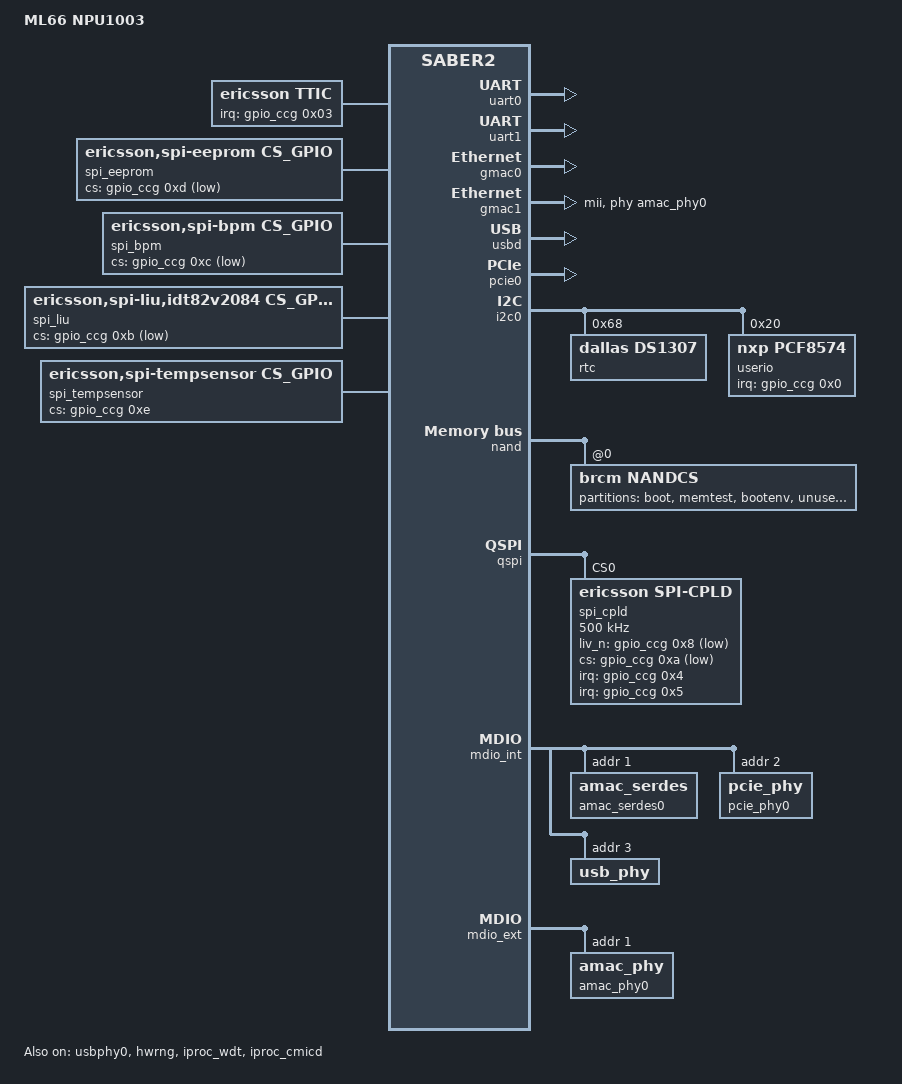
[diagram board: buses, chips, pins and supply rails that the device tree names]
/*
 *  BSD LICENSE
 *
 *  Copyright(c) 2016 Broadcom Corporation.  All rights reserved.
 *
 *  Redistribution and use in source and binary forms, with or without
 *  modification, are permitted provided that the following conditions
 *  are met:
 *
 *    * Redistributions of source code must retain the above copyright
 *      notice, this list of conditions and the following disclaimer.
 *    * Redistributions in binary form must reproduce the above copyright
 *      notice, this list of conditions and the following disclaimer in
 *      the documentation and/or other materials provided with the
 *      distribution.
 *    * Neither the name of Broadcom Corporation nor the names of its
 *      contributors may be used to endorse or promote products derived
 *      from this software without specific prior written permission.
 *
 *  THIS SOFTWARE IS PROVIDED BY THE COPYRIGHT HOLDERS AND CONTRIBUTORS
 *  "AS IS" AND ANY EXPRESS OR IMPLIED WARRANTIES, INCLUDING, BUT NOT
 *  LIMITED TO, THE IMPLIED WARRANTIES OF MERCHANTABILITY AND FITNESS FOR
 *  A PARTICULAR PURPOSE ARE DISCLAIMED. IN NO EVENT SHALL THE COPYRIGHT
 *  OWNER OR CONTRIBUTORS BE LIABLE FOR ANY DIRECT, INDIRECT, INCIDENTAL,
 *  SPECIAL, EXEMPLARY, OR CONSEQUENTIAL DAMAGES (INCLUDING, BUT NOT
 *  LIMITED TO, PROCUREMENT OF SUBSTITUTE GOODS OR SERVICES; LOSS OF USE,
 *  DATA, OR PROFITS; OR BUSINESS INTERRUPTION) HOWEVER CAUSED AND ON ANY
 *  THEORY OF LIABILITY, WHETHER IN CONTRACT, STRICT LIABILITY, OR TORT
 *  (INCLUDING NEGLIGENCE OR OTHERWISE) ARISING IN ANY WAY OUT OF THE USE
 *  OF THIS SOFTWARE, EVEN IF ADVISED OF THE POSSIBILITY OF SUCH DAMAGE.
 */

/dts-v1/;

#include "bcm-saber2.dtsi"

/ {
	model = "ML66 NPU1003";
	compatible = "ericsson,npu1003", "brcm,saber2";

	aliases {
		serial0 = &uart0;
		serial1 = &uart1;
		ethernet0 = &gmac0;
		ethernet1 = &gmac1;
	};

	chosen {
		bootargs = "console=ttyS0,115200n8 maxcpus=1 ubi.mtd=1 root=ubi0:rootfs rootflags=bulk_read rootfstype=ubifs user_debug=31";
	};

	ttic {
		compatible = "ericsson,ttic";
		interrupts = <0x03 IRQ_TYPE_EDGE_FALLING>;
		interrupt-parent =<&gpio_ccg>;
	};

	rmm {
		compatible = "ericsson,rmm";
	};

	pex {
		compatible = "ericsson,pcie";
	};

	gpio_pcie: gpio_pcie {
		compatible = "ericsson,gpio_pcie";
		#gpio-cells = <2>;
		gpio-controller;
	};

	spi_eeprom {
		compatible = "ericsson,spi-eeprom,cs_gpio";
		spi-cpol;
		cs = <&gpio_ccg 0xd GPIO_ACTIVE_LOW>;
	};

	spi_bpm {
		compatible = "ericsson,spi-bpm,cs_gpio";
		spi-cpol;
		cs = <&gpio_ccg 0xc GPIO_ACTIVE_LOW>;
	};

	spi_liu {
		compatible = "ericsson,spi-liu,idt82v2084,cs_gpio";
		spi-cpol;
		cs = <&gpio_ccg 0xb GPIO_ACTIVE_LOW>;
	};

	spi_tempsensor {
		compatible = "ericsson,spi-tempsensor,cs_gpio";
		spi-cpol;
		spi-cpha;
		cs = <&gpio_ccg 0xe GPIO_ACTIVE_HIGH>;
	};
};

&uart0 {
	status = "okay";
};

&uart1 {
	status = "okay";
};

&gmac0 {
	status = "okay";
	serdes-handle = <&amac_serdes0>;
};

&gmac1 {
	status = "okay";
	phy-handle = <&amac_phy0>;
	phy-mode = "mii";
};

&usbphy0 {
	status = "okay";
	mdio-phy-handle = <&usb_phy>;
};

&usbd {
	status = "okay";
};

&gpio_ccg {
	status = "okay";
};

&pcie0 {
	status = "okay";
	mdio-phy-handle = <&pcie_phy0>;
};

&i2c0 {
	status = "okay";
	rtc@0x68 {
		compatible = "dallas,ds1307";
		reg = <0x68>;
	};

	userio@20 {
		compatible = "nxp,pcf8574";
		reg = <0x20>;
		gpio-controller;
		dedicated-out-pins = <0x10>;
		#gpio-cells = <0x2>;
		interrupt-controller;
		#interrupt-cells = <2>;
		interrupt-parent = <&gpio_ccg>;
		interrupts = <0x0 IRQ_TYPE_EDGE_FALLING>;
	};
};

&nand {
	status = "okay";
	nandcs@1 {
		compatible = "brcm,nandcs";
		reg = <0>;
		nand-on-flash-bbt;
		/*nand-bus-width = <8>;*/
		nand-ecc-strength = <4>;
		nand-ecc-step-size = <512>;
		brcm,nand-oob-sector-size = <16>;

		partitions {
			compatible = "ml66,npu-partitions", "fixed-partitions";
			#address-cells = <1>;
			#size-cells = <1>;

			partition@0 {
				label = "boot";
				reg = <0x0 0x100000>;
			};
			partition@1 {
				label = "memtest";
				reg = <0x100000 0x100000>;
			};
			partition@2 {
				label = "bootenv";
				reg = <0x200000 0x100000>;
			};
			partition@3 {
				label = "unused";
				reg = <0x300000 0x100000>;
			};
			partition@4 {
				label = "iproc_ram_tuning";
				reg = <0x400000 0x100000>;
			};
			partition@5 {
				label = "nandtest";
				reg = <0x500000 0x100000>;
			};
			partition@6 {
				label = "pbist";
				reg = <0x600000 0x3A00000>;
			};
			partition@7 {
				label = "lm0";
				reg = <0x04000000 0x10000000>;
			};
			partition@8 {
				label = "lm1";
				reg = <0x14000000 0x10000000>;
			};
			partition@9 {
				label = "util";
				reg = <0x24000000 0x58000000>;
			};
			partition@10 {
				label = "crash";
				reg = <0x7c000000 0x4000000>;
			};
		};
	};
};

&qspi {
	status = "okay";
	spi_cpld@0 {
		reg = <0>;
		compatible = "ericsson,spi-cpld";
		spi-cpol;
		spi-max-frequency = <500000>;
		interrupts-extended = <&gpio_ccg 0x4 0x2>, /* SPI_IRQ_N */
				      <&gpio_ccg 0x5 0x2>, /* LVD_EVENT_N */
				      <&gpio_ccg 0x8 0x2>; /* LIV_DISTURB_N */
		liv_n-gpios = <&gpio_ccg 0x8 0x1>;
		cs = <&gpio_ccg 0xa 0x1>;
	};
};


&mdio_int {
	status = "okay";
	amac_serdes0: amac_serdes@0 {
		reg = <1>;
	};
	pcie_phy0: pcie_phy@0 {
		reg = <2>;
	};
	usb_phy: usb_phy@0 {
		reg = <3>;
	};
};

&mdio_ext {
	status = "okay";
	amac_phy0: amac_phy@0 {
		reg = <1>;
	};
};

&hwrng {
	status = "okay";
};

&iproc_wdt {
	status = "okay";
};

&dmac0 {
	status = "okay";
};

&iproc_cmicd {
	status = "okay";
};
